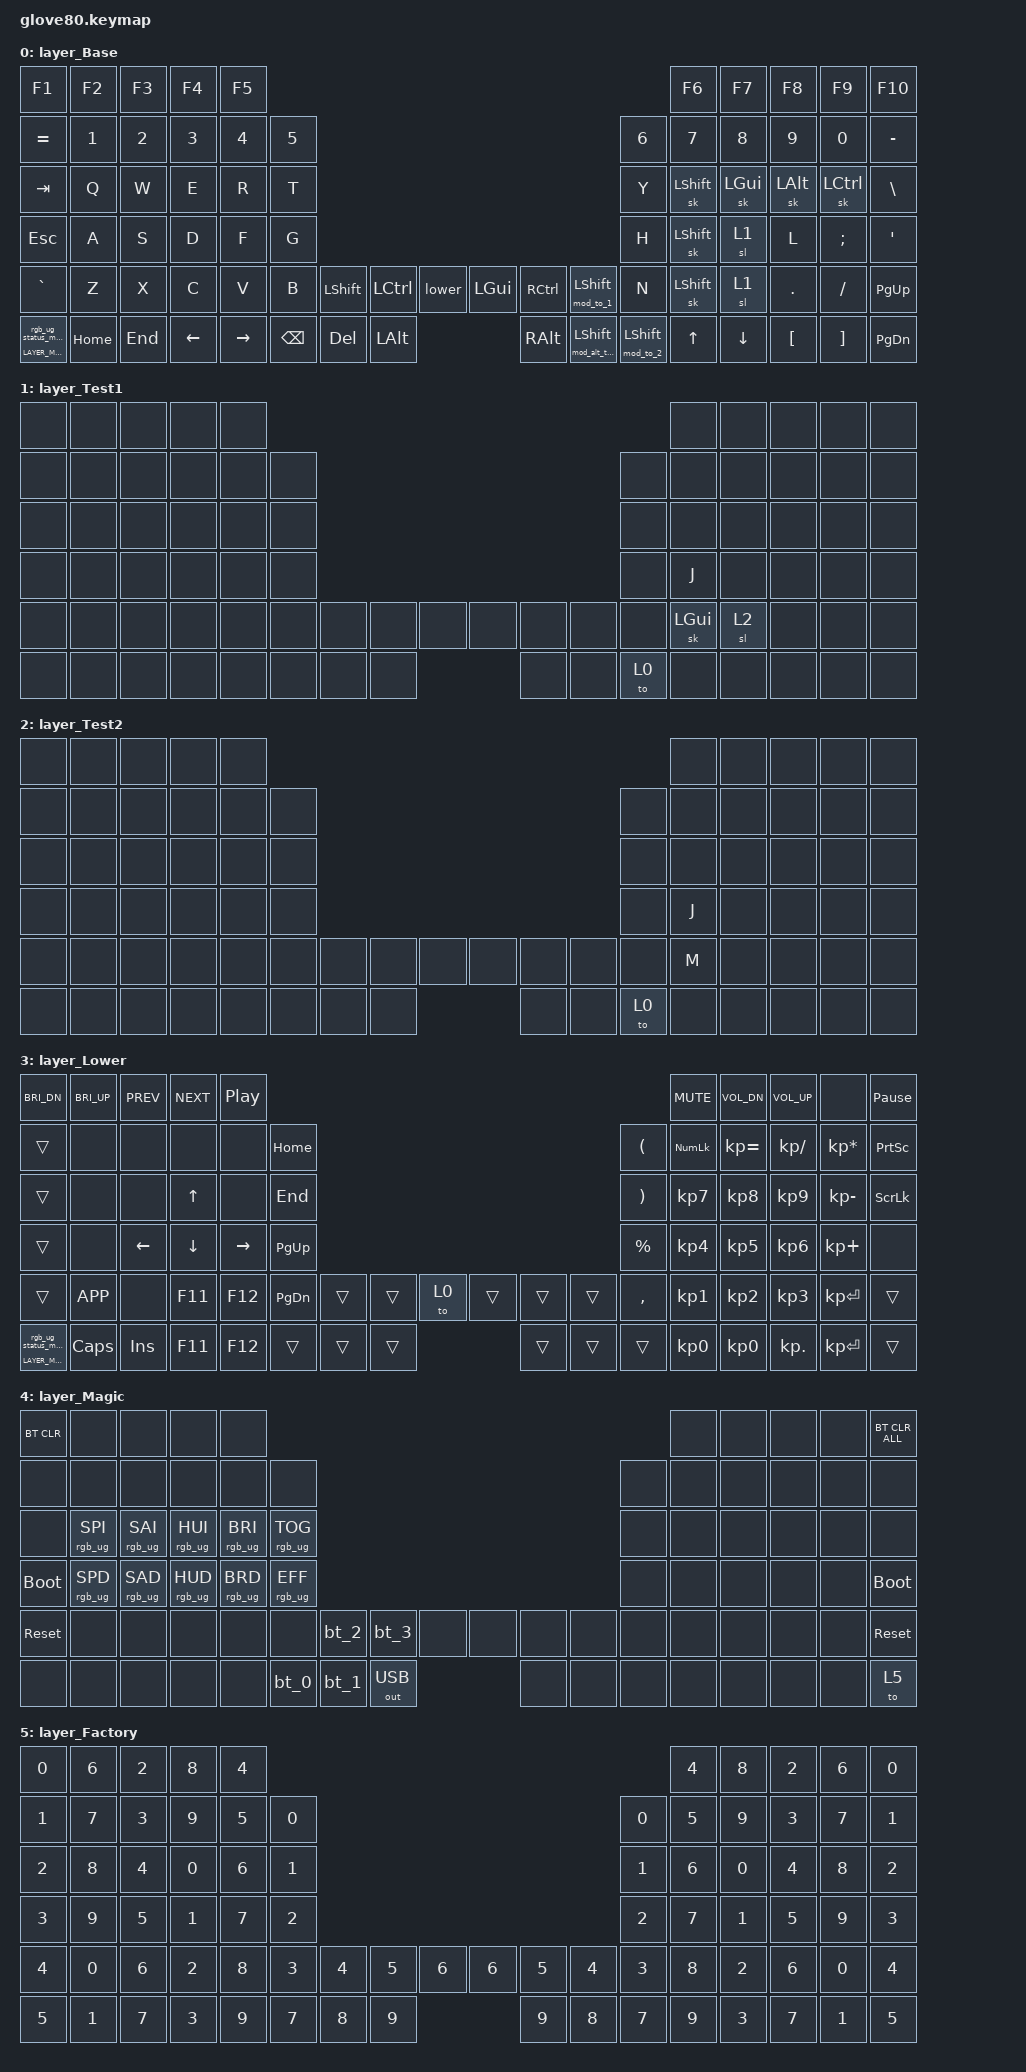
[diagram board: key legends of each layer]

/*
 * Copyright (c) 2020 The ZMK Contributors
 * Copyright (c) 2023 Innaworks Development Limited, trading as MoErgo
 *
 * SPDX-License-Identifier: MIT
 */


/* THIS FILE WAS GENERATED BY GLOVE80 LAYOUT EDITOR
 *
 * This file was generated automatically. You may or may not want to
 * edit it directly.
 */

#include <behaviors.dtsi>
/* Include all behavior includes needed */
#include <dt-bindings/zmk/outputs.h>
#include <dt-bindings/zmk/keys.h>
#include <dt-bindings/zmk/bt.h>
#include <dt-bindings/zmk/rgb.h>

/* Automatically generated layer name #define */
#define LAYER_Base 0
#define LAYER_Test1 1
#define LAYER_Test2 2
#define LAYER_Lower 3
#define LAYER_Magic 4
#define LAYER_Factory 5

/* To deal with the situation where there is no Lower layer, to keep &lower happy */
#ifndef LAYER_Lower
#define LAYER_Lower 0
#endif

/* Custom Device-tree */



/* Glove80 system behavior & macros */
/ {
    behaviors {
        // For the "layer" key, it'd nice to be able to use it as either a shift or a toggle.
        // Configure it as a tap dance, so the first tap (or hold) is a &mo and the second tap is a &to
        lower: lower {
            compatible = "zmk,behavior-tap-dance";
            label = "LAYER_TAP_DANCE";
            #binding-cells = <0>;
            tapping-term-ms = <200>;
            bindings = <&mo LAYER_Lower>, <&to LAYER_Lower>;
        };
    };
};

/ {
    macros {
        rgb_ug_status_macro: rgb_ug_status_macro {
            label = "RGB_UG_STATUS";
            compatible = "zmk,behavior-macro";
            #binding-cells = <0>;
            bindings
                = <&rgb_ug RGB_STATUS>;
        };
    };
};


/ {
#ifdef BT_DISC_CMD
    behaviors {
        bt_0: bt_0 {
            compatible = "zmk,behavior-tap-dance";
            label = "BT_0";
            #binding-cells = <0>;
            tapping-term-ms = <200>;
            bindings = <&bt_select_0>, <&bt BT_DISC 0>;
        };
        bt_1: bt_1 {
            compatible = "zmk,behavior-tap-dance";
            label = "BT_1";
            #binding-cells = <0>;
            tapping-term-ms = <200>;
            bindings = <&bt_select_1>, <&bt BT_DISC 1>;
        };
        bt_2: bt_2 {
            compatible = "zmk,behavior-tap-dance";
            label = "BT_2";
            #binding-cells = <0>;
            tapping-term-ms = <200>;
            bindings = <&bt_select_2>, <&bt BT_DISC 2>;
        };
        bt_3: bt_3 {
            compatible = "zmk,behavior-tap-dance";
            label = "BT_3";
            #binding-cells = <0>;
            tapping-term-ms = <200>;
            bindings = <&bt_select_3>, <&bt BT_DISC 3>;
        };
    };
    macros {
        bt_select_0: bt_select_0 {
            label = "BT_SELECT_0";
            compatible = "zmk,behavior-macro";
            #binding-cells = <0>;
            bindings
                = <&out OUT_BLE>,
                  <&bt BT_SEL 0>;
        };
        bt_select_1: bt_select_1 {
            label = "BT_SELECT_1";
            compatible = "zmk,behavior-macro";
            #binding-cells = <0>;
            bindings
                = <&out OUT_BLE>,
                  <&bt BT_SEL 1>;
        };
        bt_select_2: bt_select_2 {
            label = "BT_SELECT_2";
            compatible = "zmk,behavior-macro";
            #binding-cells = <0>;
            bindings
                = <&out OUT_BLE>,
                  <&bt BT_SEL 2>;
        };
        bt_select_3: bt_select_3 {
            label = "BT_SELECT_3";
            compatible = "zmk,behavior-macro";
            #binding-cells = <0>;
            bindings
                = <&out OUT_BLE>,
                  <&bt BT_SEL 3>;
        };
    };
#else
    macros {
        bt_0: bt_0 {
            label = "BT_0";
            compatible = "zmk,behavior-macro";
            #binding-cells = <0>;
            bindings
                = <&out OUT_BLE>,
                  <&bt BT_SEL 0>;
        };
        bt_1: bt_1 {
            label = "BT_1";
            compatible = "zmk,behavior-macro";
            #binding-cells = <0>;
            bindings
                = <&out OUT_BLE>,
                  <&bt BT_SEL 1>;
        };
        bt_2: bt_2 {
            label = "BT_2";
            compatible = "zmk,behavior-macro";
            #binding-cells = <0>;
            bindings
                = <&out OUT_BLE>,
                  <&bt BT_SEL 2>;
        };
        bt_3: bt_3 {
            label = "BT_3";
            compatible = "zmk,behavior-macro";
            #binding-cells = <0>;
            bindings
                = <&out OUT_BLE>,
                  <&bt BT_SEL 3>;
        };
    };
#endif
};

/ {
    behaviors {
        magic: magic {
            compatible = "zmk,behavior-hold-tap";
            label = "MAGIC_HOLD_TAP";
            #binding-cells = <2>;
            flavor = "tap-preferred";
            tapping-term-ms = <200>;
            bindings = <&mo>, <&rgb_ug_status_macro>;
        };
    };
};

/* #define for key positions */
#define POS_LH_T1 52
#define POS_LH_T2 53
#define POS_LH_T3 54
#define POS_LH_T4 69
#define POS_LH_T5 70
#define POS_LH_T6 71
#define POS_LH_C1R2 15
#define POS_LH_C1R3 27
#define POS_LH_C1R4 39
#define POS_LH_C1R5 51
#define POS_LH_C2R1 4
#define POS_LH_C2R2 14
#define POS_LH_C2R3 26
#define POS_LH_C2R4 38
#define POS_LH_C2R5 50
#define POS_LH_C2R6 68
#define POS_LH_C3R1 3
#define POS_LH_C3R2 13
#define POS_LH_C3R3 25
#define POS_LH_C3R4 37
#define POS_LH_C3R5 49
#define POS_LH_C3R6 67
#define POS_LH_C4R1 2
#define POS_LH_C4R2 12
#define POS_LH_C4R3 24
#define POS_LH_C4R4 36
#define POS_LH_C4R5 48
#define POS_LH_C4R6 66
#define POS_LH_C5R1 1
#define POS_LH_C5R2 11
#define POS_LH_C5R3 23
#define POS_LH_C5R4 35
#define POS_LH_C5R5 47
#define POS_LH_C5R6 65
#define POS_LH_C6R1 0
#define POS_LH_C6R2 10
#define POS_LH_C6R3 22
#define POS_LH_C6R4 34
#define POS_LH_C6R5 46
#define POS_LH_C6R6 64
#define POS_RH_T1 57
#define POS_RH_T2 56
#define POS_RH_T3 55
#define POS_RH_T4 74
#define POS_RH_T5 73
#define POS_RH_T6 72
#define POS_RH_C1R2 16
#define POS_RH_C1R3 28
#define POS_RH_C1R4 40
#define POS_RH_C1R5 58
#define POS_RH_C2R1 5
#define POS_RH_C2R2 17
#define POS_RH_C2R3 29
#define POS_RH_C2R4 41
#define POS_RH_C2R5 59
#define POS_RH_C2R6 75
#define POS_RH_C3R1 6
#define POS_RH_C3R2 18
#define POS_RH_C3R3 30
#define POS_RH_C3R4 42
#define POS_RH_C3R5 60
#define POS_RH_C3R6 76
#define POS_RH_C4R1 7
#define POS_RH_C4R2 19
#define POS_RH_C4R3 31
#define POS_RH_C4R4 43
#define POS_RH_C4R5 61
#define POS_RH_C4R6 77
#define POS_RH_C5R1 8
#define POS_RH_C5R2 20
#define POS_RH_C5R3 32
#define POS_RH_C5R4 44
#define POS_RH_C5R5 62
#define POS_RH_C5R6 78
#define POS_RH_C6R1 9
#define POS_RH_C6R2 21
#define POS_RH_C6R3 33
#define POS_RH_C6R4 45
#define POS_RH_C6R5 63
#define POS_RH_C6R6 79

/* Custom Defined Behaviors */
/ {

};

/* Automatically generated macro definitions */
/ {
    macros {
    
        mod_to_1: mod_to_1 {
            label = "&MOD_TO_1";
            compatible = "zmk,behavior-macro-one-param";
            #binding-cells = <1>;
            tap-ms = <5>;
            wait-ms = <5>;
            bindings = <&macro_param_1to1>
                , <&sk MACRO_PLACEHOLDER>
                , <&sl 1>;
        };
    
        mod_to_2: mod_to_2 {
            label = "&MOD_TO_2";
            compatible = "zmk,behavior-macro-one-param";
            #binding-cells = <1>;
            tap-ms = <5>;
            wait-ms = <5>;
            bindings = <&macro_param_1to1>
                , <&sk MACRO_PLACEHOLDER>
                , <&sl 2>;
        };
    
        mod_alt_to_2: mod_alt_to_2 {
            label = "&MOD_ALT_TO_2";
            compatible = "zmk,behavior-macro-one-param";
            #binding-cells = <1>;
            tap-ms = <5>;
            wait-ms = <5>;
            bindings = <&macro_param_1to1>
                , <&sk MACRO_PLACEHOLDER>
                , <&sk LALT>
                , <&sl 2>;
        };
    };
};

/* Automatically generated behavior definitions */
/ {
    behaviors {
    
    };
};

/* Automatically generated combos definitions */


/* Automatically generated keymap */
/ {
    keymap {
        compatible = "zmk,keymap";


        layer_Base {
            bindings = <
               &kp F1    &kp F2   &kp F3    &kp F4     &kp F5                                                                                                     &kp F6    &kp F7    &kp F8     &kp F9    &kp F10
            &kp EQUAL    &kp N1   &kp N2    &kp N3     &kp N4  &kp N5                                                                                  &kp N6     &kp N7    &kp N8    &kp N9     &kp N0  &kp MINUS
              &kp TAB     &kp Q    &kp W     &kp E      &kp R   &kp T                                                                                   &kp Y  &sk LSHFT  &sk LGUI  &sk LALT  &sk LCTRL   &kp BSLH
              &kp ESC     &kp A    &kp S     &kp D      &kp F   &kp G                                                                                   &kp H  &sk LSHFT     &sl 1     &kp L   &kp SEMI    &kp SQT
            &kp GRAVE     &kp Z    &kp X     &kp C      &kp V   &kp B  &kp LSHFT  &kp LCTRL    &lower  &kp LGUI            &kp RCTRL  &mod_to_1 LSHFT   &kp N  &sk LSHFT     &sl 1   &kp DOT   &kp FSLH  &kp PG_UP
 &magic LAYER_Magic 0  &kp HOME  &kp END  &kp LEFT  &kp RIGHT           &kp BSPC    &kp DEL  &kp LALT  &kp RALT  &mod_alt_to_2 LSHFT  &mod_to_2 LSHFT             &kp UP  &kp DOWN  &kp LBKT   &kp RBKT  &kp PG_DN
            >;
        };

        layer_Test1 {
            bindings = <
  &none   &none   &none   &none   &none                                                                     &none   &none   &none   &none   &none
  &none   &none   &none   &none   &none   &none                                                   &none     &none   &none   &none   &none   &none
  &none   &none   &none   &none   &none   &none                                                   &none     &none   &none   &none   &none   &none
  &none   &none   &none   &none   &none   &none                                                   &none     &kp J   &none   &none   &none   &none
  &none   &none   &none   &none   &none   &none   &none   &none   &none   &none   &none   &none   &none  &sk LGUI   &sl 2   &none   &none   &none
  &none   &none   &none   &none   &none           &none   &none   &none   &none   &none   &to 0             &none   &none   &none   &none   &none
            >;
        };

        layer_Test2 {
            bindings = <
  &none   &none   &none   &none   &none                                                                   &none   &none   &none   &none   &none
  &none   &none   &none   &none   &none   &none                                                   &none   &none   &none   &none   &none   &none
  &none   &none   &none   &none   &none   &none                                                   &none   &none   &none   &none   &none   &none
  &none   &none   &none   &none   &none   &none                                                   &none   &kp J   &none   &none   &none   &none
  &none   &none   &none   &none   &none   &none   &none   &none   &none   &none   &none   &none   &none   &kp M   &none   &none   &none   &none
  &none   &none   &none   &none   &none           &none   &none   &none   &none   &none   &to 0           &none   &none   &none   &none   &none
            >;
        };

        layer_Lower {
            bindings = <
         &kp C_BRI_DN  &kp C_BRI_UP      &kp C_PREV      &kp C_NEXT         &kp C_PP                                                                                    &kp C_MUTE  &kp C_VOL_DN  &kp C_VOL_UP            &none  &kp PAUSE_BREAK
               &trans         &none           &none           &none            &none   &kp HOME                                                   &kp LEFT_PARENTHESIS  &kp KP_NUM  &kp KP_EQUAL  &kp KP_SLASH  &kp KP_MULTIPLY  &kp PRINTSCREEN
               &trans         &none           &none    &kp UP_ARROW            &none    &kp END                                                  &kp RIGHT_PARENTHESIS   &kp KP_N7     &kp KP_N8     &kp KP_N9     &kp KP_MINUS   &kp SCROLLLOCK
               &trans         &none  &kp LEFT_ARROW  &kp DOWN_ARROW  &kp RIGHT_ARROW  &kp PG_UP                                                            &kp PERCENT   &kp KP_N4     &kp KP_N5     &kp KP_N6      &kp KP_PLUS            &none
               &trans     &kp K_APP           &none         &kp F11          &kp F12  &kp PG_DN  &trans  &trans   &to 0  &trans  &trans  &trans              &kp COMMA   &kp KP_N1     &kp KP_N2     &kp KP_N3     &kp KP_ENTER           &trans
 &magic LAYER_Magic 0      &kp CAPS         &kp INS         &kp F11          &kp F12             &trans  &trans  &trans  &trans  &trans  &trans                          &kp KP_N0     &kp KP_N0    &kp KP_DOT     &kp KP_ENTER           &trans
            >;
        };

        layer_Magic {
            bindings = <
  &bt BT_CLR            &none            &none            &none            &none                                                                                  &none   &none   &none   &none  &bt BT_CLR_ALL
       &none            &none            &none            &none            &none            &none                                                         &none   &none   &none   &none   &none           &none
       &none  &rgb_ug RGB_SPI  &rgb_ug RGB_SAI  &rgb_ug RGB_HUI  &rgb_ug RGB_BRI  &rgb_ug RGB_TOG                                                         &none   &none   &none   &none   &none           &none
 &bootloader  &rgb_ug RGB_SPD  &rgb_ug RGB_SAD  &rgb_ug RGB_HUD  &rgb_ug RGB_BRD  &rgb_ug RGB_EFF                                                         &none   &none   &none   &none   &none     &bootloader
  &sys_reset            &none            &none            &none            &none            &none   &bt_2   &bt_3         &none   &none   &none   &none   &none   &none   &none   &none   &none      &sys_reset
       &none            &none            &none            &none            &none                    &bt_0   &bt_1  &out OUT_USB   &none   &none   &none           &none   &none   &none   &none           &to 5
            >;
        };

        layer_Factory {
            bindings = <
 &kp NUMBER_0  &kp NUMBER_6  &kp NUMBER_2  &kp NUMBER_8  &kp NUMBER_4                                                                                                                  &kp NUMBER_4  &kp NUMBER_8  &kp NUMBER_2  &kp NUMBER_6  &kp NUMBER_0
 &kp NUMBER_1  &kp NUMBER_7  &kp NUMBER_3  &kp NUMBER_9  &kp NUMBER_5  &kp NUMBER_0                                                                                      &kp NUMBER_0  &kp NUMBER_5  &kp NUMBER_9  &kp NUMBER_3  &kp NUMBER_7  &kp NUMBER_1
 &kp NUMBER_2  &kp NUMBER_8  &kp NUMBER_4  &kp NUMBER_0  &kp NUMBER_6  &kp NUMBER_1                                                                                      &kp NUMBER_1  &kp NUMBER_6  &kp NUMBER_0  &kp NUMBER_4  &kp NUMBER_8  &kp NUMBER_2
 &kp NUMBER_3  &kp NUMBER_9  &kp NUMBER_5  &kp NUMBER_1  &kp NUMBER_7  &kp NUMBER_2                                                                                      &kp NUMBER_2  &kp NUMBER_7  &kp NUMBER_1  &kp NUMBER_5  &kp NUMBER_9  &kp NUMBER_3
 &kp NUMBER_4  &kp NUMBER_0  &kp NUMBER_6  &kp NUMBER_2  &kp NUMBER_8  &kp NUMBER_3  &kp NUMBER_4  &kp NUMBER_5  &kp NUMBER_6  &kp NUMBER_6  &kp NUMBER_5  &kp NUMBER_4  &kp NUMBER_3  &kp NUMBER_8  &kp NUMBER_2  &kp NUMBER_6  &kp NUMBER_0  &kp NUMBER_4
 &kp NUMBER_5  &kp NUMBER_1  &kp NUMBER_7  &kp NUMBER_3  &kp NUMBER_9                &kp NUMBER_7  &kp NUMBER_8  &kp NUMBER_9  &kp NUMBER_9  &kp NUMBER_8  &kp NUMBER_7                &kp NUMBER_9  &kp NUMBER_3  &kp NUMBER_7  &kp NUMBER_1  &kp NUMBER_5
            >;
        };

    };
};
